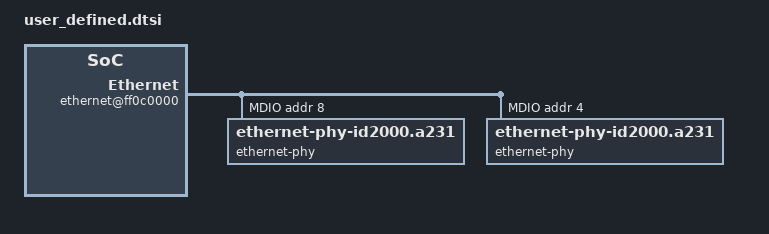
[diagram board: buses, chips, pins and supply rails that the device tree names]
/{
    axi {
        ethernet@ff0c0000 {
			mdio {
				phandle = <0x91>;
				#size-cells = <0x00>;
				#address-cells = <0x01>;

				ethernet-phy@8 {
					phandle = <0x89>;
					reset-gpios = <0x83 0x06 0x01>;
					reset-deassert-us = <0x118>;
					reset-assert-us = <0x64>;
					ti,dp83867-rxctrl-strap-quirk;
					ti,fifo-depth = <0x01>;
					ti,tx-internal-delay = <0x0a>;
					ti,rx-internal-delay = <0x08>;
					reg = <0x08>;
					compatible = "ethernet-phy-id2000.a231";
					#phy-cells = <0x01>;
				};

				ethernet-phy@4 {
					phandle = <0x87>;
					reset-gpios = <0x83 0x05 0x01>;
					reset-deassert-us = <0x118>;
					reset-assert-us = <0x12c>;
					ti,dp83867-rxctrl-strap-quirk;
					ti,fifo-depth = <0x01>;
					ti,tx-internal-delay = <0x0a>;
					ti,rx-internal-delay = <0x08>;
					reg = <0x04>;
					compatible = "ethernet-phy-id2000.a231";
					#phy-cells = <0x01>;
				};
			};
		};

        // Disabeling the write ptotection on SD card so the rootFS can be eddited
        mmc@ff160000 {
            disable-wp;
            xlnx,has-wp = <0x00>;
        };

    };


    chosen {
        bootargs = "earlycon console=ttyPS1,115200 clk_ignore_unused xilinx_tsn_ep.st_pcp=4 init_fatal_sh=1 cma=900M ";
        stdout-path = "serial1:115200n8";
    };
};
